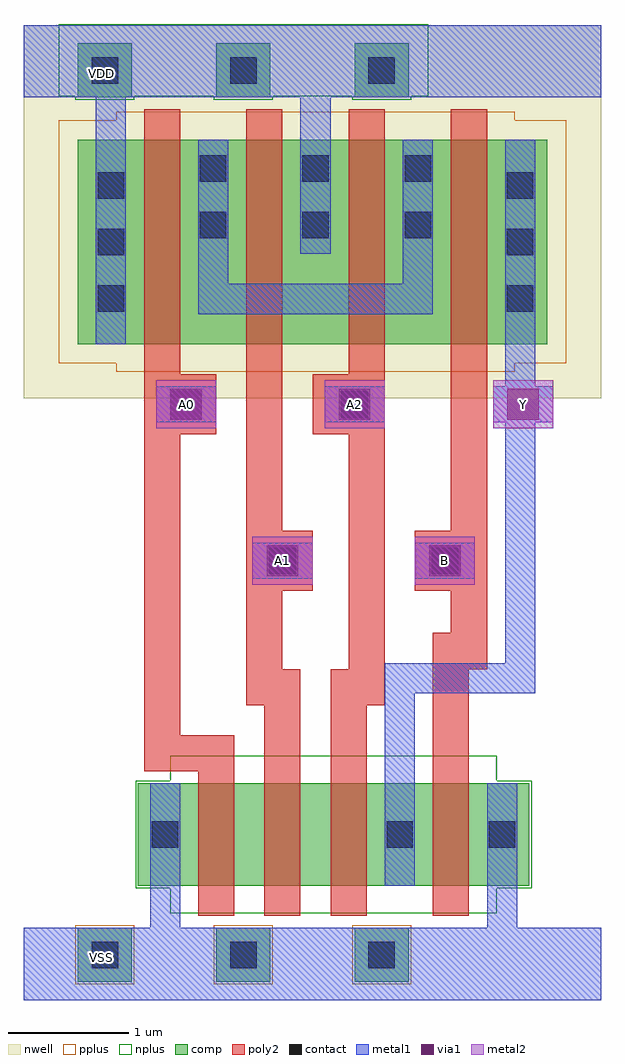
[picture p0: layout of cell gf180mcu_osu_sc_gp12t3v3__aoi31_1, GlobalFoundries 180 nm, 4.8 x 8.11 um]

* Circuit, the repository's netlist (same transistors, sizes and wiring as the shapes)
* Copyright 2022 Google LLC
*
* Licensed under the Apache License, Version 2.0 (the "License");
* you may not use this file except in compliance with the License.
* You may obtain a copy of the License at
*
*      http://www.apache.org/licenses/LICENSE-2.0
*
* Unless required by applicable law or agreed to in writing, software
* distributed under the License is distributed on an "AS IS" BASIS,
* WITHOUT WARRANTIES OR CONDITIONS OF ANY KIND, either express or implied.
* See the License for the specific language governing permissions and
* limitations under the License.

.option scale=0.05u

.subckt gf180mcu_osu_sc_gp12t3v3__aoi31_1 Y B A0 A1 A2
X0 a_46_19 A1 a_35_19 VSS nmos_3p3 w=17 l=6
X1 Y B a_26_109 VDD pmos_3p3 w=34 l=6
X2 VSS B Y VSS nmos_3p3 w=17 l=6
X3 a_26_109 A2 VDD VDD pmos_3p3 w=34 l=6
X4 Y A2 a_46_19 VSS nmos_3p3 w=17 l=6
X5 a_26_109 a_20_38 VDD VDD pmos_3p3 w=34 l=6
X6 VDD A1 a_26_109 VDD pmos_3p3 w=34 l=6
X7 a_35_19 a_20_38 VSS VSS nmos_3p3 w=17 l=6
.ends

** hspice subcircuit dictionary

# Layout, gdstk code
import gdstk
lib = gdstk.Library(unit=1e-6, precision=1e-09)
def R(c, l, rs):  # rectangles x0, y0, x1, y1
    for r in rs: c.add(gdstk.rectangle(r[:2], r[2:], *l))
def A(c, l, x, y, w, h, nx, ny, dx, dy):  # array of equal rectangles
    R(c, l, [(x+i*dx, y+j*dy, x+i*dx+w, y+j*dy+h) for i in range(nx) for j in range(ny)])
nwell = (21, 0)
comp = (22, 0)
poly2 = (30, 0)
pplus = (31, 0)
nplus = (32, 0)
contact = (33, 0)
metal1 = (34, 0)
via1 = (35, 0)
metal2 = (36, 0)

gf180mcu_osu_sc_gp12t3v3 = lib.new_cell('gf180mcu_osu_sc_gp12t3v3__aoi31_1')
R(gf180mcu_osu_sc_gp12t3v3, nwell, [(0,5,4.8,8.1)])
A(gf180mcu_osu_sc_gp12t3v3, comp, 0.45, 0.15, 0.45, 0.45, 3, 2, 1.15, 7.35)
R(gf180mcu_osu_sc_gp12t3v3, comp, [(0.95,0.95,4.2,1.8), (0.45,5.45,4.35,7.15)])
R(gf180mcu_osu_sc_gp12t3v3, poly2, [(1.45,0.7,1.75,1.9), (2,0.7,2.3,2.45), (2.55,0.7,2.85,2.45), (3.4,0.7,3.7,2.75), (1,1.9,1.75,2.2), (1,2.2,1.3,4.7), (1.85,2.45,2.3,2.75), (2.55,2.45,3,2.75), (1.85,2.75,2.15,3.4), (2.7,2.75,3,4.7), (3.4,2.75,3.85,3.05), (3.55,3.05,3.85,3.4), (1.85,3.4,2.4,3.9), (3.25,3.4,3.85,3.9), (1.85,3.9,2.15,7.4), (3.55,3.9,3.85,7.4), (1,4.7,1.6,5.2), (2.4,4.7,3,5.2), (1,5.2,1.3,7.4), (2.7,5.2,3,7.4)])
A(gf180mcu_osu_sc_gp12t3v3, pplus, 0.43, 0.13, 0.49, 0.49, 3, 1, 1.15, 0)
R(gf180mcu_osu_sc_gp12t3v3, pplus, [(0.77,5.22,4.08,5.29), (0.29,5.29,4.51,7.31), (0.77,7.31,4.08,7.38)])
A(gf180mcu_osu_sc_gp12t3v3, nplus, 0.43, 7.48, 0.49, 0.03, 3, 1, 1.15, 0)
R(gf180mcu_osu_sc_gp12t3v3, nplus, [(1.22,0.72,3.93,0.93), (0.93,0.93,4.22,1.82), (1.22,1.82,3.93,2.03), (0.29,7.51,3.36,8.11)])
A(gf180mcu_osu_sc_gp12t3v3, contact, 0.565, 0.265, 0.22, 0.22, 3, 2, 1.15, 7.35)
A(gf180mcu_osu_sc_gp12t3v3, contact, 0.615, 5.72, 0.22, 0.22, 1, 3, 0, 0.47)
A(gf180mcu_osu_sc_gp12t3v3, contact, 4.015, 5.72, 0.22, 0.22, 1, 3, 0, 0.47)
A(gf180mcu_osu_sc_gp12t3v3, contact, 1.465, 6.33, 0.22, 0.22, 3, 2, 0.85, 0.47)
R(gf180mcu_osu_sc_gp12t3v3, contact, [(1.065,1.265,1.285,1.485), (3.015,1.265,3.235,1.485), (3.865,1.265,4.085,1.485), (2.04,3.54,2.26,3.76), (3.39,3.54,3.61,3.76), (2.64,4.84,2.86,5.06)])
A(gf180mcu_osu_sc_gp12t3v3, metal1, 1.1, 4.8, 0.5, 0.3, 3, 1, 1.4, 0)
R(gf180mcu_osu_sc_gp12t3v3, metal1, [(0,0,4.8,0.6), (1.05,0.6,1.3,1.8), (3.85,0.6,4.1,1.8), (3,0.95,3.25,2.55), (3,2.55,4.25,2.8), (4,2.8,4.25,4.8), (1.9,3.5,2.4,3.8), (3.25,3.5,3.75,3.8), (4,5.1,4.25,7.15), (0.6,5.45,0.85,7.5), (1.45,5.7,3.4,5.95), (1.45,5.95,1.7,7.15), (3.15,5.95,3.4,7.15), (2.3,6.2,2.55,7.5), (0,7.5,4.8,8.1)])
A(gf180mcu_osu_sc_gp12t3v3, via1, 1.22, 4.82, 0.26, 0.26, 3, 1, 1.4, 0)
R(gf180mcu_osu_sc_gp12t3v3, via1, [(2.02,3.52,2.28,3.78), (3.37,3.52,3.63,3.78)])
A(gf180mcu_osu_sc_gp12t3v3, metal2, 1.1, 4.75, 0.5, 0.4, 3, 1, 1.4, 0)
R(gf180mcu_osu_sc_gp12t3v3, metal2, [(1.9,3.45,2.4,3.85), (3.25,3.45,3.75,3.85)])
gf180mcu_osu_sc_gp12t3v3.add(gdstk.Label('VDD', (0.65,7.7), layer=34, texttype=0))
gf180mcu_osu_sc_gp12t3v3.add(gdstk.Label('VSS', (0.65,0.35), layer=34, texttype=0))
gf180mcu_osu_sc_gp12t3v3.add(gdstk.Label('Y', (4.15,4.95), layer=36, texttype=10))
gf180mcu_osu_sc_gp12t3v3.add(gdstk.Label('B', (3.5,3.65), layer=36, texttype=10))
gf180mcu_osu_sc_gp12t3v3.add(gdstk.Label('A0', (1.35,4.95), layer=36, texttype=10))
gf180mcu_osu_sc_gp12t3v3.add(gdstk.Label('A1', (2.15,3.65), layer=36, texttype=10))
gf180mcu_osu_sc_gp12t3v3.add(gdstk.Label('A2', (2.75,4.95), layer=36, texttype=10))

lib.write_gds('gf180mcu_osu_sc_gp12t3v3__aoi31_1.gds')
